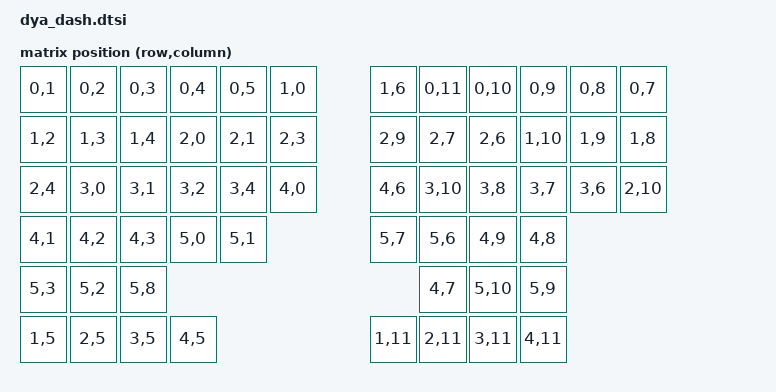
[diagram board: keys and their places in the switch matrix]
#include <behaviors/default_layer.dtsi>
#include <behaviors/animation_trigger.dtsi>
#include <dt-bindings/zmk/matrix_transform.h>
#include <dt-bindings/input/input-event-codes.h>
#include <dt-bindings/led/led.h>
#include <dt-bindings/zmk_driver_animation/animation_control.h>
#include <dt-bindings/zmk_driver_animation/animation_trigger.h>
#include <input/processors.dtsi>
#include <zmk_driver_animation/animation.dtsi>
#include <zmk_driver_animation/animation_layer_status.dtsi>

#include "dya_dash-layouts.dtsi"

/ {
    chosen {
        zmk,physical-layout = &default_layout;
        zmk,animation = &animation_control;
        zmk,animation-control = &animation_control;
    };

    animation: animation {
        compatible = "zmk,animation";
        drivers = <&led_strip>;
        pixels = <&pixel 0 0>,
            <&pixel 1 0>,
            <&pixel 2 0>,
            <&pixel 3 0>;
        chain-lengths = <4>;
    };

    animations {
        /omit-if-no-ref/ animation_control: control {
            compatible = "zmk,animation-control";
            label = "ANIMATION_CTRL_0";
            powered-animations = <&endpoint_status_animation &rainbow_animation>;
            battery-animations = <&empty_animation>;
            behavior-animations = <&battery_status_animation &endpoint_status_animation &animation_layer_status>;
            init-animation = <&init_animation>;
            activation-animation = <&battery_status_animation>;
            activation-animation-duration-ms = <1000>;
            ext-power = <&led_power>;
        };
        /omit-if-no-ref/ init_animation: init {
            compatible = "zmk,animation-compose";
            animations = <&battery_status_animation &black_animation &endpoint_status_animation>;
            durations-ms = <1000 200 1000>;
        };
        /omit-if-no-ref/ black_animation: black {
            compatible = "zmk,animation-solid";
            pixels = <0 1 2 3>;
            colors = <HSL(0, 0, 0)>;
        };

        /omit-if-no-ref/ empty_animation: empty {
            compatible = "zmk,animation-empty";
            status = "okay";
        };
        /omit-if-no-ref/ rainbow_animation: rainbow {
            compatible = "zmk,animation-solid";
            status = "okay";
            pixels = <0 1 2 3>;
            colors = <HSL(0, 100, 50) HSL(60, 100, 50) HSL(120, 100, 50) HSL(180, 100, 50) HSL(240, 100, 50) HSL(300, 100, 50)>;
        };
        /omit-if-no-ref/ red_animation: red {
            compatible = "zmk,animation-solid";
            status = "okay";
            pixels = <0 1 2 3>;
            colors = <HSL(0, 100, 50)>;
        };
        /omit-if-no-ref/ endpoint_status_animation: endpoint_status {
            compatible = "zmk,animation-endpoint";
            status = "okay";
            pixels = <0 1 2 3>;
            color-open = <HSL(60, 100, 50)>;
            color-connected = <HSL(240, 100, 50)>;
            color-disconnected = <HSL(0, 100, 50)>;
            color-usb = <HSL(120, 100, 25)>;
        };
        /omit-if-no-ref/ battery_status_animation: battery_status {
            compatible = "zmk,animation-battery-status";
            status = "okay";
            pixels = <0 1 2 3>;
            color-high = <HSL(120, 100, 50)>; // green
            color-middle = <HSL(60, 100, 50)>; // yellow
            color-low = <HSL(0, 100, 50)>; // red
        };
    };

    default_transform: keymap_transform_0 {
        compatible = "zmk,matrix-transform";
        columns = <12>;
        rows = <6>;
        map = <
        // SW1, SW2, SW3, SW4, SW5, SW6,                               SW6, SW5, SW4, SW3, SW2, SW1,
        // 0 1 2 3 4 5                                                 6 7 8 9 10 11
        RC(0, 1) RC(0, 2) RC(0, 3) RC(0, 4) RC(0, 5) RC(1, 0)          RC(1, 6) RC(0, 11) RC(0, 10) RC(0, 9) RC(0, 8) RC(0, 7)
        // SW7, SW8, SW9, SW10, SW11, SW12,                            SW12, SW11, SW10, SW9, SW8, SW7,
        // 12 13 14 15 16 17                                           18 19 20 21 22 23
        RC(1, 2) RC(1, 3) RC(1, 4) RC(2, 0) RC(2, 1) RC(2, 3)          RC(2, 9) RC(2, 7) RC(2, 6) RC(1, 10) RC(1, 9) RC(1, 8)
        // SW13, SW14, SW15, SW16, SW17, SW18,                         SW18, SW17, SW16, SW15, SW14, SW13,
        // 24 25 26 27 28 29                                           30 31 32 33 34 35
        RC(2, 4) RC(3, 0) RC(3, 1) RC(3, 2) RC(3, 4) RC(4, 0)          RC(4, 6) RC(3, 10) RC(3, 8) RC(3, 7) RC(3, 6) RC(2, 10)
        // SW19, SW20, SW21, SW22, SW23                                SW23, SW22, SW21, SW20, // 21, 20 can be missing if trackball enabled
        // 36 37 38 39 40                                              41 42 (43 44)
        RC(4, 1) RC(4, 2) RC(4, 3) RC(5, 0) RC(5, 1)                   RC(5, 7) RC(5, 6) RC(4, 9) RC(4, 8)
        // SW24 for bluetooth, SW25 for USB                            // 4 arrow keys left up down right
        // 45 46                                                       47 48 49 50
        RC(5, 3) RC(5, 2)                                              RC(5, 8) RC(4, 7) RC(5, 10) RC(5, 9)
        // TOUCH1, TOUCH2, TOUCH3, TOUCH4                              // TOUCH1 (K) , TOUCH2 (L), TOUCH3 (O), TOUCH4 (sum finger)
        // 51 52 53 54                                                 55 56 57 58
        RC(1, 5) RC(2, 5) RC(3, 5) RC(4, 5)                            RC(1, 11) RC(2, 11) RC(3, 11) RC(4, 11)
        >;
    };

    kscan0: kscan_0 {
        compatible = "zmk,kscan-gpio-charlieplex";
        gpios
        = <&xiao_d 2 (GPIO_ACTIVE_HIGH)>
        , <&xiao_d 3 (GPIO_ACTIVE_HIGH)>
        , <&xiao_d 4 (GPIO_ACTIVE_HIGH)>
        , <&xiao_d 5 (GPIO_ACTIVE_HIGH)>
        , <&xiao_d 6 (GPIO_ACTIVE_HIGH)>
        , <&xiao_d 7 (GPIO_ACTIVE_HIGH)>
        ;
        wakeup-source;
        interrupt-gpios = <&xiao_d 1 (GPIO_ACTIVE_HIGH | GPIO_PULL_DOWN)>;
    };

    trackball_listener: trackball_listener_0 {
        compatible = "zmk,input-listener";
        device = <&trackball>;
        // Please define in your .keymap
        // input-processors = <&zip_temp_layer0 TRACKBALL_L 500>;

        trackball_scroller: scroller_0 {
            // Please define in your .keymap
            // layers = <SCROLL_L>;
            input-processors = <&zip_xy_scaler 1 60 &zip_xy_to_scroll_mapper>;
        };
    };

    trackball_listener_l: trackball_listener_1 {
        compatible = "zmk,input-listener";
        device = <&peripheral_trackball>;
        // Please define in your .keymap
        // input-processors = <&zip_temp_layer0 TRACKBALL_L 500>;

        trackball_scroller_l: scroller_1 {
            // Please define in your .keymap
            // layers = <SCROLL_L>;
            input-processors = <&zip_xy_scaler 1 60 &zip_xy_to_scroll_mapper>;
        };
    };

    split_inputs {
		#address-cells = <1>;
		#size-cells = <0>;

		peripheral_trackball: peripheral_trackball@0 {
			compatible = "zmk,input-split";
			reg = <0>;
		};
	};

    led_power:led_power {
        compatible = "zmk,ext-power-transient";
        control-gpios = <&gpio0 9 (GPIO_ACTIVE_LOW)>; // NFC1
    };
};

// Use NFC pins as GPIOs
&uicr {
	nfct-pins-as-gpios;
};

//
// pinctrl for LED strip (SK6812-MINI-E)
//

&pinctrl {
    spi3_default: spi3_default {
        group1 {
            psels = <NRF_PSEL(SPIM_MOSI, 0, 10)>; // NFC2
        };
    };

    spi3_sleep: spi3_sleep {
        group1 {
            psels = <NRF_PSEL(SPIM_MOSI, 0, 10)>;
            low-power-enable;
        };
    };
};

&spi3 {
    compatible = "nordic,nrf-spim";
    status = "okay";

    pinctrl-0 = <&spi3_default>;
    pinctrl-1 = <&spi3_sleep>;
    pinctrl-names = "default", "sleep";

    led_strip: ws2812@0 {
        compatible = "worldsemi,ws2812-spi";
        reg = <0>;
        // Note: Frequency should be between 2.5MHz to 5MHz
        // 2.5MHz := 1sec / 0.4us
        //           where 0.4us is min (T0H max, T0L max, T1H max, T1L max)
        //                 T0H max = 0.4us, T1H max = 1.0us, T0L,T1L max = 20us
        // 5MHz := min(1sec / 0.2us, 1sec / 1.2us * 8bit)
        //           where 0.2us is min (T0H min, T0L min, T1H min, T1L min)
        //                               T0H min = 0.2us, T1L min = 0.2us, T1H min = 0.58us, T0L min = 0.8us
        //                 1.2us is T min
        //                 8bit is because this driver builds 1frame with 8bit (spi-one-frame, spi-zero-frame)
        spi-max-frequency = <4000000>; // 4MHz = 0.25us

        chain-length = <4>; /* number of LEDs */
        spi-one-frame = <0x70>;  // 01110000 -> T1H = 0.25 * 3 = 0.75us is between 0.58 and 1.0
        spi-zero-frame = <0x40>; // 01000000 -> T0H = 0.25us is between 0.2 and 0.4
        color-mapping = <LED_COLOR_ID_GREEN
                         LED_COLOR_ID_RED
                         LED_COLOR_ID_BLUE>;
    };
};

&animation_layer_status {
    pixels = <0 1 2 3>;
    default-color = <HSL(240, 100, 50)>;
    // default
    // windows blue
    // mac red
    // ios white
    // linux orange
    colors = <
        0
        HSL(193, 100, 47)
        HSL(0, 100, 40)
        HSL(0, 100, 100)
        HSL(29, 88, 51)
    >;
};

&zip_temp_layer {
    require-prior-idle-ms = <100>;
};

&vbatt {
    io-channels = <&adc 0>;
    power-gpios; // unset
    output-ohms = <470000>;
    full-ohms = <(1000000 + 470000)>;
    // For Ni-Mh 1U
    mv-to-pct-thresholds = <1100 1150 1200 1220 1240 1260 1280 1300 1320 1350 1400>;
};
